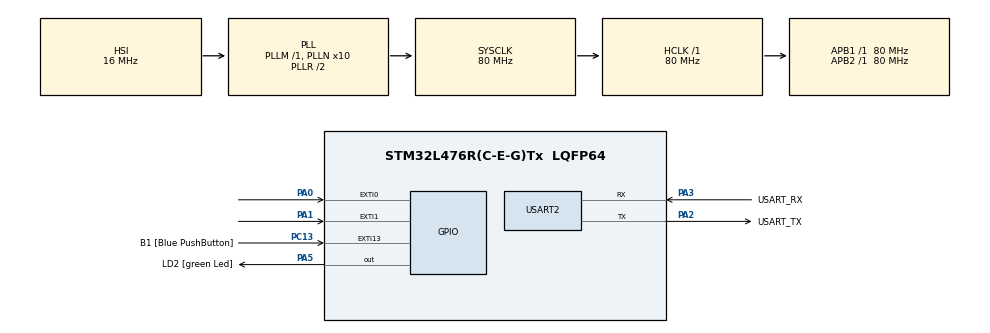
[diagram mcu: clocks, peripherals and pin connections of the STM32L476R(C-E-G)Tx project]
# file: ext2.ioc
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Mcu.Family=STM32L4
Mcu.Name=STM32L476R(C-E-G)Tx
Mcu.Package=LQFP64
NVIC.EXTI0_IRQn=true\:0\:0\:false\:false\:true\:true\:true
NVIC.EXTI1_IRQn=true\:0\:0\:false\:false\:true\:true\:true
NVIC.PriorityGroup=NVIC_PRIORITYGROUP_4
NVIC.TIM4_IRQn=true\:0\:0\:false\:false\:true\:true\:true
PA0.Signal=GPXTI0
PA1.GPIO_ModeDefaultEXTI=GPIO_MODE_IT_FALLING
PA1.Signal=GPXTI1
PA13\ (JTMS-SWDIO).GPIO_Label=TMS
PA13\ (JTMS-SWDIO).Mode=Serial_Wire
PA13\ (JTMS-SWDIO).Signal=SYS_JTMS-SWDIO
PA14\ (JTCK-SWCLK).GPIO_Label=TCK
PA14\ (JTCK-SWCLK).Mode=Serial_Wire
PA14\ (JTCK-SWCLK).Signal=SYS_JTCK-SWCLK
PA2.GPIO_Label=USART_TX
PA2.GPIO_Mode=GPIO_MODE_AF_PP
PA2.GPIO_PuPd=GPIO_NOPULL
PA2.GPIO_Speed=GPIO_SPEED_FREQ_VERY_HIGH
PA2.Mode=Asynchronous
PA2.Signal=USART2_TX
PA3.GPIO_Label=USART_RX
PA3.GPIO_Mode=GPIO_MODE_AF_PP
PA3.GPIO_PuPd=GPIO_NOPULL
PA3.GPIO_Speed=GPIO_SPEED_FREQ_VERY_HIGH
PA3.Mode=Asynchronous
PA3.Signal=USART2_RX
PA5.GPIO_Label=LD2 [green Led]
PA5.GPIO_ModeDefaultOutputPP=GPIO_MODE_OUTPUT_PP
PA5.GPIO_PuPd=GPIO_NOPULL
PA5.GPIO_Speed=GPIO_SPEED_FREQ_LOW
PA5.Signal=GPIO_Output
PB3\ (JTDO-TRACESWO).GPIO_Label=SWO
PB3\ (JTDO-TRACESWO).Signal=SYS_JTDO-SWO
PC13.GPIO_Label=B1 [Blue PushButton]
PC13.GPIO_ModeDefaultEXTI=GPIO_MODE_IT_FALLING
PC13.GPIO_PuPd=GPIO_NOPULL
PC13.Signal=GPXTI13
PH0-OSC_IN\ (PH0).Mode=HSE-External-Oscillator
PH0-OSC_IN\ (PH0).Signal=RCC_OSC_IN
PH1-OSC_OUT\ (PH1).Mode=HSE-External-Oscillator
PH1-OSC_OUT\ (PH1).Signal=RCC_OSC_OUT
ProjectManager.HeapSize=0x200
ProjectManager.StackSize=0x400
ProjectManager.TargetToolchain=MDK-ARM V5
RCC.ADCFreq_Value=64000000
RCC.AHBFreq_Value=80000000
RCC.APB1Freq_Value=80000000
RCC.APB1TimFreq_Value=80000000
RCC.APB2Freq_Value=80000000
RCC.APB2TimFreq_Value=80000000
RCC.CortexFreq_Value=80000000
RCC.HCLKFreq_Value=80000000
RCC.HSE_VALUE=8000000
RCC.HSI_VALUE=16000000
RCC.LSE_VALUE=32768
RCC.MSI_VALUE=4000000
RCC.PLLN=10
RCC.PLLSourceVirtual=RCC_PLLSOURCE_HSI
RCC.PREFETCH_ENABLE=1
RCC.SYSCLKFreq_VALUE=80000000
RCC.SYSCLKSource=RCC_SYSCLKSOURCE_PLLCLK
RCC.USBFreq_Value=64000000
RCC.VCOOutputFreq_Value=160000000
TIM4.Period=1
TIM4.Prescaler=40
USART2.VirtualMode-Asynchronous=VM_ASYNC
VP_TIM4_VS_ClockSourceINT.Mode=Internal
board=NUCLEO-L476RG

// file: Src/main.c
/* USER CODE BEGIN Header */
/**
  ******************************************************************************
  * @file           : main.c
  * @brief          : Main program body
  ******************************************************************************
  * @attention
  *
  * <h2><center>&copy; Copyright (c) 2019 STMicroelectronics.
  * All rights reserved.</center></h2>
  *
  * This software component is licensed by ST under BSD 3-Clause license,
  * the "License"; You may not use this file except in compliance with the
  * License. You may obtain a copy of the License at:
  *                        opensource.org/licenses/BSD-3-Clause
  *
  ******************************************************************************
  */
/* USER CODE END Header */

#include "main.h"

/* USER CODE BEGIN PD */
static uint64_t sure1=0,sure2=0,sure=0;
extern uint64_t zaman;
uint8_t *ptetik=NULL,tetik=0;
/* USER CODE END PD */

TIM_HandleTypeDef htim4;

UART_HandleTypeDef huart2;

void SystemClock_Config(void);
static void MX_GPIO_Init(void);
static void MX_TIM4_Init(void);
static void MX_USART2_UART_Init(void);
/* USER CODE BEGIN PFP */
void ilkdeger(void);
void ikincideger(void);
/* USER CODE END PFP */

int main(void)
{
  /* USER CODE BEGIN 1 */
HAL_TIM_Base_Start_IT(&htim4);
	ptetik=&tetik;
  /* USER CODE END 1 */

  /* MCU Configuration--------------------------------------------------------*/

  /* Reset of all peripherals, Initializes the Flash interface and the Systick. */
  HAL_Init();

  /* Configure the system clock */
  SystemClock_Config();

  /* Initialize all configured peripherals */
  MX_GPIO_Init();
  MX_TIM4_Init();
  MX_USART2_UART_Init();

  /* Infinite loop */
  while (1)
  {

  }
}

void SystemClock_Config(void)
{
  RCC_OscInitTypeDef RCC_OscInitStruct = {0};
  RCC_ClkInitTypeDef RCC_ClkInitStruct = {0};
  RCC_PeriphCLKInitTypeDef PeriphClkInit = {0};

  /** Initializes the CPU, AHB and APB busses clocks
  */
  RCC_OscInitStruct.OscillatorType = RCC_OSCILLATORTYPE_HSI;
  RCC_OscInitStruct.HSIState = RCC_HSI_ON;
  RCC_OscInitStruct.HSICalibrationValue = RCC_HSICALIBRATION_DEFAULT;
  RCC_OscInitStruct.PLL.PLLState = RCC_PLL_ON;
  RCC_OscInitStruct.PLL.PLLSource = RCC_PLLSOURCE_HSI;
  RCC_OscInitStruct.PLL.PLLM = 1;
  RCC_OscInitStruct.PLL.PLLN = 10;
  RCC_OscInitStruct.PLL.PLLP = RCC_PLLP_DIV7;
  RCC_OscInitStruct.PLL.PLLQ = RCC_PLLQ_DIV2;
  RCC_OscInitStruct.PLL.PLLR = RCC_PLLR_DIV2;
  if (HAL_RCC_OscConfig(&RCC_OscInitStruct) != HAL_OK)
  {
    Error_Handler();
  }
  /** Initializes the CPU, AHB and APB busses clocks
  */
  RCC_ClkInitStruct.ClockType = RCC_CLOCKTYPE_HCLK|RCC_CLOCKTYPE_SYSCLK
                              |RCC_CLOCKTYPE_PCLK1|RCC_CLOCKTYPE_PCLK2;
  RCC_ClkInitStruct.SYSCLKSource = RCC_SYSCLKSOURCE_PLLCLK;
  RCC_ClkInitStruct.AHBCLKDivider = RCC_SYSCLK_DIV1;
  RCC_ClkInitStruct.APB1CLKDivider = RCC_HCLK_DIV1;
  RCC_ClkInitStruct.APB2CLKDivider = RCC_HCLK_DIV1;

  if (HAL_RCC_ClockConfig(&RCC_ClkInitStruct, FLASH_LATENCY_4) != HAL_OK)
  {
    Error_Handler();
  }
  PeriphClkInit.PeriphClockSelection = RCC_PERIPHCLK_USART2;
  PeriphClkInit.Usart2ClockSelection = RCC_USART2CLKSOURCE_PCLK1;
  if (HAL_RCCEx_PeriphCLKConfig(&PeriphClkInit) != HAL_OK)
  {
    Error_Handler();
  }
  /** Configure the main internal regulator output voltage
  */
  if (HAL_PWREx_ControlVoltageScaling(PWR_REGULATOR_VOLTAGE_SCALE1) != HAL_OK)
  {
    Error_Handler();
  }
}

static void MX_TIM4_Init(void)
{

  TIM_ClockConfigTypeDef sClockSourceConfig = {0};
  TIM_MasterConfigTypeDef sMasterConfig = {0};

  htim4.Instance = TIM4;
  htim4.Init.Prescaler = 40;
  htim4.Init.CounterMode = TIM_COUNTERMODE_UP;
  htim4.Init.Period = 1;
  htim4.Init.ClockDivision = TIM_CLOCKDIVISION_DIV1;
  htim4.Init.AutoReloadPreload = TIM_AUTORELOAD_PRELOAD_DISABLE;
  if (HAL_TIM_Base_Init(&htim4) != HAL_OK)
  {
    Error_Handler();
  }
  sClockSourceConfig.ClockSource = TIM_CLOCKSOURCE_INTERNAL;
  if (HAL_TIM_ConfigClockSource(&htim4, &sClockSourceConfig) != HAL_OK)
  {
    Error_Handler();
  }
  sMasterConfig.MasterOutputTrigger = TIM_TRGO_RESET;
  sMasterConfig.MasterSlaveMode = TIM_MASTERSLAVEMODE_DISABLE;
  if (HAL_TIMEx_MasterConfigSynchronization(&htim4, &sMasterConfig) != HAL_OK)
  {
    Error_Handler();
  }

}

static void MX_USART2_UART_Init(void)
{

  huart2.Instance = USART2;
  huart2.Init.BaudRate = 115200;
  huart2.Init.WordLength = UART_WORDLENGTH_8B;
  huart2.Init.StopBits = UART_STOPBITS_1;
  huart2.Init.Parity = UART_PARITY_NONE;
  huart2.Init.Mode = UART_MODE_TX_RX;
  huart2.Init.HwFlowCtl = UART_HWCONTROL_NONE;
  huart2.Init.OverSampling = UART_OVERSAMPLING_16;
  huart2.Init.OneBitSampling = UART_ONE_BIT_SAMPLE_DISABLE;
  huart2.AdvancedInit.AdvFeatureInit = UART_ADVFEATURE_NO_INIT;
  if (HAL_UART_Init(&huart2) != HAL_OK)
  {
    Error_Handler();
  }

}

static void MX_GPIO_Init(void)
{
  GPIO_InitTypeDef GPIO_InitStruct = {0};

  /* GPIO Ports Clock Enable */
  __HAL_RCC_GPIOC_CLK_ENABLE();
  __HAL_RCC_GPIOH_CLK_ENABLE();
  __HAL_RCC_GPIOA_CLK_ENABLE();
  __HAL_RCC_GPIOB_CLK_ENABLE();

  /*Configure GPIO pin Output Level */
  HAL_GPIO_WritePin(LD2_GPIO_Port, LD2_Pin, GPIO_PIN_RESET);

  /*Configure GPIO pin : B1_Pin */
  GPIO_InitStruct.Pin = B1_Pin;
  GPIO_InitStruct.Mode = GPIO_MODE_IT_FALLING;
  GPIO_InitStruct.Pull = GPIO_NOPULL;
  HAL_GPIO_Init(B1_GPIO_Port, &GPIO_InitStruct);

  /*Configure GPIO pin : PA0 */
  GPIO_InitStruct.Pin = GPIO_PIN_0;
  GPIO_InitStruct.Mode = GPIO_MODE_IT_RISING;
  GPIO_InitStruct.Pull = GPIO_NOPULL;
  HAL_GPIO_Init(GPIOA, &GPIO_InitStruct);

  /*Configure GPIO pin : PA1 */
  GPIO_InitStruct.Pin = GPIO_PIN_1;
  GPIO_InitStruct.Mode = GPIO_MODE_IT_FALLING;
  GPIO_InitStruct.Pull = GPIO_NOPULL;
  HAL_GPIO_Init(GPIOA, &GPIO_InitStruct);

  /*Configure GPIO pin : LD2_Pin */
  GPIO_InitStruct.Pin = LD2_Pin;
  GPIO_InitStruct.Mode = GPIO_MODE_OUTPUT_PP;
  GPIO_InitStruct.Pull = GPIO_NOPULL;
  GPIO_InitStruct.Speed = GPIO_SPEED_FREQ_LOW;
  HAL_GPIO_Init(LD2_GPIO_Port, &GPIO_InitStruct);

  /* EXTI interrupt init*/
  HAL_NVIC_SetPriority(EXTI0_IRQn, 0, 0);
  HAL_NVIC_EnableIRQ(EXTI0_IRQn);

  HAL_NVIC_SetPriority(EXTI1_IRQn, 0, 0);
  HAL_NVIC_EnableIRQ(EXTI1_IRQn);

}

/* USER CODE BEGIN 4 */
void ilkdeger()
{
	if(tetik==0)
		{
		if(sure==0)
			{
			sure1=zaman;
			*ptetik=1;
		}
	}
}
void ikincideger(){
	if(tetik==1)
	{
		if(sure==0)
		{
			sure2=zaman;
			sure=sure2-sure1;
			HAL_UART_Transmit(&huart2,(uint64_t*)&sure,1,100);
			*ptetik=0;
			zaman=0;
		}
	}
}

/* USER CODE END 4 */

void Error_Handler(void)
{
}

/************************ (C) COPYRIGHT STMicroelectronics *****END OF FILE****/
